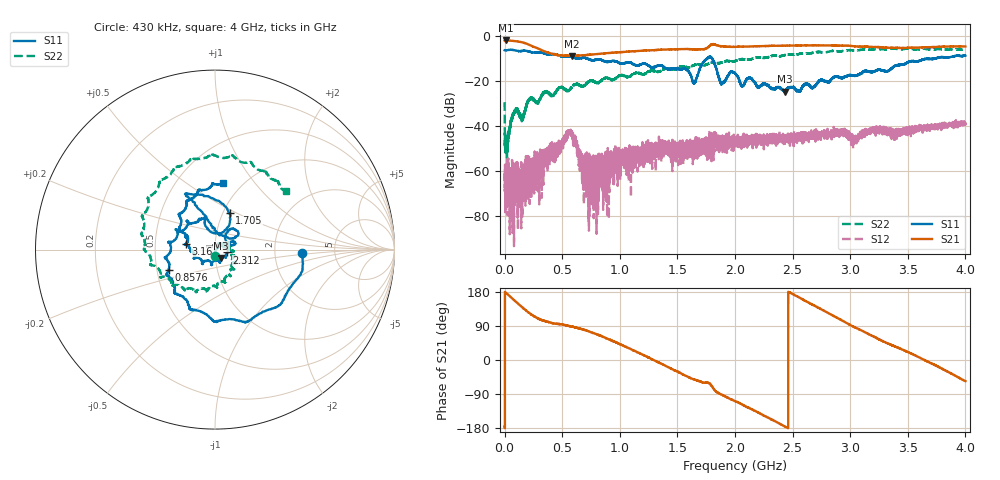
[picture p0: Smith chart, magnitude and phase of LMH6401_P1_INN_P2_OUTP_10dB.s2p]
!Keysight Technologies N9917A: A.08.18
!Date: Saturday, 27 May 2023 17:02:02
!Timezone: (GMT-07:00) Mountain Time (US & Canada)
!Model: N9917A
!Serial: MY52401314
!GPS Latitude:
!GPS Longitude:
!GPS TimeStamp: 0001-01-01 00:00:00Z
!GPS Seconds Since Last Read: 0
!CHECKSUM:0741296098
!Correction: S11(ON U)S21(ON U)S12(ON U)S22(ON U)
!S2P File: Measurements:S11,S21,S12,S22:
# Hz S DB R 50
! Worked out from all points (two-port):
!   10000 points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, 430 kHz to 4 GHz, reference 50 ohm
!   highest |S21| = -1.85 dB at 9.63 MHz (marker M1); lowest = -8.8 dB at 582.4 MHz (marker M2)
!   |S21| within 3 dB of the highest: 1.768 GHz to 3.256 GHz (1.488 GHz wide, 59.3 % of centre); 3.695 GHz to end of sweep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
!   lowest |S11| = -24.7 dB at 2.432 GHz (marker M3), VSWR 1.12, Z = 53.4 - j4.96 ohm
!   |S11| at or under -10 dB: 721.1551 MHz to 721.3899 MHz (234.8 kHz wide, 0.0326 % of centre); 722.3 MHz to 1.756 GHz (1.034 GHz wide, 83.4 % of centre); 1.803 GHz to 3.732 GHz (1.929 GHz wide, 69.7 % of centre)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
!   |S22| runs from -54.3 to -5.4 dB; largest |S21 - S12| = 0.81
!   S11 on the Smith chart (normalised r, x): 430 kHz: 2.90, -0.15; 857.6 MHz: 0.58, -0.14; 1.705 GHz: 1.08, +0.46; 2.312 GHz: 1.14, -0.04; 3.16 GHz: 0.72, +0.05; 4 GHz: 0.82, +0.71
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429997  -6.24 -2.3  -1.95 -176.0  -62.05 153.7  -29.40 -94.3
9629928  -6.24 -3.0  -1.85 177.8  -60.85 -122.6  -48.41 -126.6
2.242983e7  -6.21 -6.2  -1.87 174.5  -58.13 -72.7  -51.40 -115.9
8.522936e7  -6.22 -18.6  -2.12 157.3  -67.87 -30.5  -33.52 52.1
1.528289e8  -6.54 -35.6  -2.68 139.2  -64.26 42.7  -36.50 67.2
1.924286e8  -6.55 -42.4  -3.32 129.2  -60.10 -152.7  -29.89 42.9
5.824256e8  -9.13 -114.0  -8.78 88.5  -44.37 -57.4  -22.83 5.4
6.67225e8  -9.79 -130.6  -8.53 81.7  -56.86 -125.7  -22.23 8.1
7.384245e8  -10.32 -137.9  -8.25 74.8  -61.25 -16.3  -19.94 -6.0
8.576236e8  -11.05 -156.1  -7.66 60.6  -57.38 -56.3  -18.98 -20.9
1.33362e9  -13.02 134.1  -6.06 -6.1  -52.11 -71.7  -15.79 -67.1
1.645218e9  -20.97 86.8  -5.83 -51.3  -48.32 -75.3  -12.84 -100.4
1.705217e9  -13.24 68.2  -5.78 -57.6  -46.88 -87.2  -12.78 -101.9
1.792417e9  -9.33 117.6  -3.73 -66.3  -44.86 -80.2  -11.81 -114.1
1.889216e9  -21.08 60.4  -4.44 -92.0  -48.01 -127.8  -11.70 -124.5
2.000415e9  -16.39 50.8  -4.69 -108.4  -46.78 -131.7  -11.05 -134.6
2.312413e9  -23.36 -13.5  -4.26 -155.9  -46.03 178.4  -8.85 -166.2
2.431612e9  -24.74 -53.1  -4.16 -175.1  -45.89 179.5  -8.33 -178.0
2.66681e9  -22.98 -113.9  -4.07 146.8  -45.59 151.6  -7.51 158.9
3.160006e9  -15.66 168.2  -4.68 68.4  -41.90 102.7  -5.95 112.0
3.333605e9  -15.36 153.7  -5.10 43.0  -42.57 69.3  -5.71 94.5
4e9  -8.59 82.9  -4.54 -55.7  -39.19 10.3  -5.75 39.1
